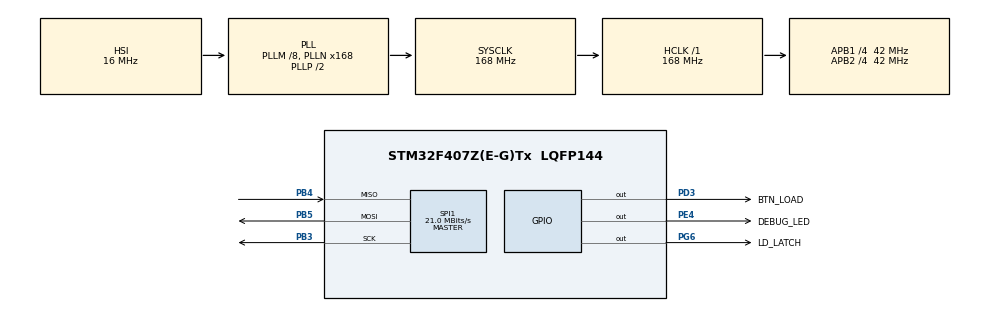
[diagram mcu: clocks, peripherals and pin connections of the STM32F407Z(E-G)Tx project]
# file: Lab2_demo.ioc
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Mcu.Family=STM32F4
Mcu.Name=STM32F407Z(E-G)Tx
Mcu.Package=LQFP144
NVIC.PriorityGroup=NVIC_PRIORITYGROUP_4
NVIC.TIM2_IRQn=true\:0\:0\:false\:false\:true\:true\:true
PA13.Mode=Serial_Wire
PA13.Signal=SYS_JTMS-SWDIO
PA14.Mode=Serial_Wire
PA14.Signal=SYS_JTCK-SWCLK
PB3.Mode=Full_Duplex_Master
PB3.Signal=SPI1_SCK
PB4.Mode=Full_Duplex_Master
PB4.Signal=SPI1_MISO
PB5.Mode=Full_Duplex_Master
PB5.Signal=SPI1_MOSI
PD3.GPIO_Label=BTN_LOAD
PD3.Signal=GPIO_Output
PE4.GPIO_Label=DEBUG_LED
PE4.Signal=GPIO_Output
PG6.GPIO_Label=LD_LATCH
PG6.Signal=GPIO_Output
PH0-OSC_IN.Mode=HSE-External-Oscillator
PH0-OSC_IN.Signal=RCC_OSC_IN
PH1-OSC_OUT.Mode=HSE-External-Oscillator
PH1-OSC_OUT.Signal=RCC_OSC_OUT
ProjectManager.HeapSize=0x200
ProjectManager.StackSize=0x400
ProjectManager.TargetToolchain=STM32CubeIDE
RCC.48MHZClocksFreq_Value=84000000
RCC.AHBFreq_Value=168000000
RCC.APB1CLKDivider=RCC_HCLK_DIV4
RCC.APB1Freq_Value=42000000
RCC.APB1TimFreq_Value=84000000
RCC.APB2CLKDivider=RCC_HCLK_DIV4
RCC.APB2Freq_Value=42000000
RCC.APB2TimFreq_Value=84000000
RCC.CortexFreq_Value=168000000
RCC.HCLKFreq_Value=168000000
RCC.HSE_VALUE=8000000
RCC.HSI_VALUE=16000000
RCC.LSE_VALUE=32768
RCC.PLLM=8
RCC.PLLN=168
RCC.SYSCLKFreq_VALUE=168000000
RCC.SYSCLKSource=RCC_SYSCLKSOURCE_PLLCLK
RCC.VCOOutputFreq_Value=336000000
SPI1.CalculateBaudRate=21.0 MBits/s
SPI1.Direction=SPI_DIRECTION_2LINES
SPI1.Mode=SPI_MODE_MASTER
SPI1.VirtualType=VM_MASTER
TIM2.Period=100-1
TIM2.Prescaler=840-1
VP_TIM2_VS_ClockSourceINT.Mode=Internal
board=custom

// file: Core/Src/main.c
/* USER CODE BEGIN Header */
/**
  ******************************************************************************
  * @file           : main.c
  * @brief          : Main program body
  ******************************************************************************
  * @attention
  *
  * <h2><center>&copy; Copyright (c) 2024 STMicroelectronics.
  * All rights reserved.</center></h2>
  *
  * This software component is licensed by ST under BSD 3-Clause license,
  * the "License"; You may not use this file except in compliance with the
  * License. You may obtain a copy of the License at:
  *                        opensource.org/licenses/BSD-3-Clause
  *
  ******************************************************************************
  */
/* USER CODE END Header */
#include "main.h"

/* USER CODE BEGIN Includes */
#include "software_timer.h"
/* USER CODE END Includes */

/* USER CODE BEGIN PD */
#define MINUTE_SECOND_MODE 10
#define HOUR_MINUTE_MODE 11
#define COLON_MODE_ON 1
#define COLON_MODE_OFF 0
#define _1_HZ 1
#define _25_HZ 11
#define _100_HZ 111
/* USER CODE END PD */

SPI_HandleTypeDef hspi1;

TIM_HandleTypeDef htim2;

void SystemClock_Config(void);
static void MX_GPIO_Init(void);
static void MX_SPI1_Init(void);
static void MX_TIM2_Init(void);
/* USER CODE BEGIN PFP */
void led7_init();
void led7_Scan();
void led7_SetDigit(int num, int position, uint8_t show_dot);
void led7_SetColon(uint8_t status);
/* USER CODE END PFP */

int main(void)
{

  /* MCU Configuration--------------------------------------------------------*/

  /* Reset of all peripherals, Initializes the Flash interface and the Systick. */
  HAL_Init();

  /* Configure the system clock */
  SystemClock_Config();

  /* Initialize all configured peripherals */
  MX_GPIO_Init();
  MX_SPI1_Init();
  MX_TIM2_Init();
  /* USER CODE BEGIN 2 */
  HAL_TIM_Base_Start_IT(&htim2);
  /* USER CODE END 2 */

  /* Infinite loop */
  /* USER CODE BEGIN WHILE */
  led7_init();
  setTimer1(50);
  setTimer2(50);
  int exercise = 3;
  int mode = HOUR_MINUTE_MODE;
  int hour = 22, minute = 50, second = 30;
  int colonMode = COLON_MODE_OFF;
  int randomArr[4] = {9, 0, 1, 3};

  int modeHz = _1_HZ;
  for (int i = 0; i < 4; i++) {
  	 led7_SetDigit(randomArr[i], i, 0);
  }
  while (1)
  {
    /* USER CODE END WHILE */
	  if(exercise == 1){
		  if (timer1_flag == 1){
			  second++;
			  if(second >= 60){
				  second = 0;
				  minute++;
			  }
			  if(minute >= 60){
				  minute = 0;
				  hour++;
			  }
			  if(hour >= 24){
				  hour = 0;
			  }
			  led7_SetDigit(mode == MINUTE_SECOND_MODE? minute/10 : hour/10, 0, 0);
			  led7_SetDigit(mode == MINUTE_SECOND_MODE? minute%10 : hour%10, 1, 0);
			  led7_SetDigit(mode == MINUTE_SECOND_MODE? second/10 : minute/10, 2, 0);
			  led7_SetDigit(mode == MINUTE_SECOND_MODE? second%10 : minute%10, 3, 0);
			  setTimer1(10);
		  }
		  if (timer2_flag == 1){
			  colonMode = COLON_MODE_ON + COLON_MODE_OFF - colonMode;
			  led7_SetColon(colonMode);
			  setTimer2(250);
		  }
	  } else if (exercise == 2){
		  if (timer1_flag == 1){
			  int temp = randomArr[3];
			 for (int i = 3; i > 0; i--) {
				 randomArr[i] = randomArr[i - 1];
			 }
			 randomArr[0] = temp;

			 for (int i = 0; i < 4; i++) {
				 led7_SetDigit(randomArr[i], i, 0);
			 }
			 setTimer1(1000);
		  }
	  } else if (exercise == 3){
		  if(timer1_flag == 1){
			  led7_Scan();
			  if(modeHz == _1_HZ){
				  setTimer1(1000);
			  } else if (modeHz == _25_HZ){
				  setTimer1(40);
			  } else if (modeHz == _100_HZ){
				  setTimer1(10);
			  }
		  }
	  }

  }
}

void SystemClock_Config(void)
{
  RCC_OscInitTypeDef RCC_OscInitStruct = {0};
  RCC_ClkInitTypeDef RCC_ClkInitStruct = {0};

  /** Configure the main internal regulator output voltage
  */
  __HAL_RCC_PWR_CLK_ENABLE();
  __HAL_PWR_VOLTAGESCALING_CONFIG(PWR_REGULATOR_VOLTAGE_SCALE1);
  /** Initializes the RCC Oscillators according to the specified parameters
  * in the RCC_OscInitTypeDef structure.
  */
  RCC_OscInitStruct.OscillatorType = RCC_OSCILLATORTYPE_HSI;
  RCC_OscInitStruct.HSIState = RCC_HSI_ON;
  RCC_OscInitStruct.HSICalibrationValue = RCC_HSICALIBRATION_DEFAULT;
  RCC_OscInitStruct.PLL.PLLState = RCC_PLL_ON;
  RCC_OscInitStruct.PLL.PLLSource = RCC_PLLSOURCE_HSI;
  RCC_OscInitStruct.PLL.PLLM = 8;
  RCC_OscInitStruct.PLL.PLLN = 168;
  RCC_OscInitStruct.PLL.PLLP = RCC_PLLP_DIV2;
  RCC_OscInitStruct.PLL.PLLQ = 4;
  if (HAL_RCC_OscConfig(&RCC_OscInitStruct) != HAL_OK)
  {
    Error_Handler();
  }
  /** Initializes the CPU, AHB and APB buses clocks
  */
  RCC_ClkInitStruct.ClockType = RCC_CLOCKTYPE_HCLK|RCC_CLOCKTYPE_SYSCLK
                              |RCC_CLOCKTYPE_PCLK1|RCC_CLOCKTYPE_PCLK2;
  RCC_ClkInitStruct.SYSCLKSource = RCC_SYSCLKSOURCE_PLLCLK;
  RCC_ClkInitStruct.AHBCLKDivider = RCC_SYSCLK_DIV1;
  RCC_ClkInitStruct.APB1CLKDivider = RCC_HCLK_DIV4;
  RCC_ClkInitStruct.APB2CLKDivider = RCC_HCLK_DIV4;

  if (HAL_RCC_ClockConfig(&RCC_ClkInitStruct, FLASH_LATENCY_5) != HAL_OK)
  {
    Error_Handler();
  }
}

static void MX_SPI1_Init(void)
{

  /* SPI1 parameter configuration*/
  hspi1.Instance = SPI1;
  hspi1.Init.Mode = SPI_MODE_MASTER;
  hspi1.Init.Direction = SPI_DIRECTION_2LINES;
  hspi1.Init.DataSize = SPI_DATASIZE_8BIT;
  hspi1.Init.CLKPolarity = SPI_POLARITY_LOW;
  hspi1.Init.CLKPhase = SPI_PHASE_1EDGE;
  hspi1.Init.NSS = SPI_NSS_SOFT;
  hspi1.Init.BaudRatePrescaler = SPI_BAUDRATEPRESCALER_2;
  hspi1.Init.FirstBit = SPI_FIRSTBIT_MSB;
  hspi1.Init.TIMode = SPI_TIMODE_DISABLE;
  hspi1.Init.CRCCalculation = SPI_CRCCALCULATION_DISABLE;
  hspi1.Init.CRCPolynomial = 10;
  if (HAL_SPI_Init(&hspi1) != HAL_OK)
  {
    Error_Handler();
  }

}

static void MX_TIM2_Init(void)
{

  TIM_ClockConfigTypeDef sClockSourceConfig = {0};
  TIM_MasterConfigTypeDef sMasterConfig = {0};

  htim2.Instance = TIM2;
  htim2.Init.Prescaler = 840-1;
  htim2.Init.CounterMode = TIM_COUNTERMODE_UP;
  htim2.Init.Period = 100-1;
  htim2.Init.ClockDivision = TIM_CLOCKDIVISION_DIV1;
  htim2.Init.AutoReloadPreload = TIM_AUTORELOAD_PRELOAD_DISABLE;
  if (HAL_TIM_Base_Init(&htim2) != HAL_OK)
  {
    Error_Handler();
  }
  sClockSourceConfig.ClockSource = TIM_CLOCKSOURCE_INTERNAL;
  if (HAL_TIM_ConfigClockSource(&htim2, &sClockSourceConfig) != HAL_OK)
  {
    Error_Handler();
  }
  sMasterConfig.MasterOutputTrigger = TIM_TRGO_RESET;
  sMasterConfig.MasterSlaveMode = TIM_MASTERSLAVEMODE_DISABLE;
  if (HAL_TIMEx_MasterConfigSynchronization(&htim2, &sMasterConfig) != HAL_OK)
  {
    Error_Handler();
  }

}

static void MX_GPIO_Init(void)
{
  GPIO_InitTypeDef GPIO_InitStruct = {0};

  /* GPIO Ports Clock Enable */
  __HAL_RCC_GPIOH_CLK_ENABLE();
  __HAL_RCC_GPIOG_CLK_ENABLE();
  __HAL_RCC_GPIOA_CLK_ENABLE();
  __HAL_RCC_GPIOD_CLK_ENABLE();
  __HAL_RCC_GPIOB_CLK_ENABLE();

  /*Configure GPIO pin Output Level */
  HAL_GPIO_WritePin(LD_LATCH_GPIO_Port, LD_LATCH_Pin, GPIO_PIN_RESET);

  /*Configure GPIO pin Output Level */
  HAL_GPIO_WritePin(BTN_LOAD_GPIO_Port, BTN_LOAD_Pin, GPIO_PIN_RESET);

  /*Configure GPIO pin : LD_LATCH_Pin */
  GPIO_InitStruct.Pin = LD_LATCH_Pin;
  GPIO_InitStruct.Mode = GPIO_MODE_OUTPUT_PP;
  GPIO_InitStruct.Pull = GPIO_NOPULL;
  GPIO_InitStruct.Speed = GPIO_SPEED_FREQ_LOW;
  HAL_GPIO_Init(LD_LATCH_GPIO_Port, &GPIO_InitStruct);

  /*Configure GPIO pin : BTN_LOAD_Pin */
  GPIO_InitStruct.Pin = BTN_LOAD_Pin;
  GPIO_InitStruct.Mode = GPIO_MODE_OUTPUT_PP;
  GPIO_InitStruct.Pull = GPIO_NOPULL;
  GPIO_InitStruct.Speed = GPIO_SPEED_FREQ_LOW;
  HAL_GPIO_Init(BTN_LOAD_GPIO_Port, &GPIO_InitStruct);

}

/* USER CODE BEGIN 4 */
void HAL_TIM_PeriodElapsedCallback(TIM_HandleTypeDef *htim){
	timerRun();
//	led7_Scan();
}
uint8_t led7seg[4] = {0, 1, 2, 3}; //4 index
uint8_t arrayOfNum[10] = {0x03, 0x9f, 0x25, 0x0d, 0x99, 0x49, 0x41, 0x1f, 0x01, 0x09};// 9 numbers
uint16_t spi_buffer = 0xffff;
uint16_t led7_index = 0;

/**
  * @brief  Init led 7 segment
  * @param  None
  * @retval None
  */
void led7_init(){
	  HAL_GPIO_WritePin(LD_LATCH_GPIO_Port, LD_LATCH_Pin, 1);
}

/**
  * @brief  Scan led 7 segment
  * @param  None
  * @note  	Call in 1ms interrupt
  * @retval None
  */
void led7_Scan(){
	spi_buffer &= 0x00ff;
	spi_buffer |= led7seg[led7_index] << 8;
	switch(led7_index){
	case 0:
		spi_buffer |= 0x00b0;
		spi_buffer &= 0xffbf;
		break;
	case 1:
		spi_buffer |= 0x00d0;
		spi_buffer &= 0xffdf;
		break;
	case 2:
		spi_buffer |= 0x00e0;
		spi_buffer &= 0xffef;
		break;
	case 3:
		spi_buffer |= 0x0070;
		spi_buffer &= 0xff7f;
		break;
	default:
		break;
	}
	led7_index = (led7_index + 1)%4;
	HAL_GPIO_WritePin(LD_LATCH_GPIO_Port, LD_LATCH_Pin, 0);
	HAL_SPI_Transmit(&hspi1, (void*)&spi_buffer, 2, 1);
	HAL_GPIO_WritePin(LD_LATCH_GPIO_Port, LD_LATCH_Pin, 1);
}

/**
  * @brief  Display a digit at a position of led 7-segment
  * @param  num	Number displayed
  * @param  pos	The position displayed (index from 0)
  * @param  show_dot Show dot in the led or not
  * @retval None
  */
void led7_SetDigit(int num, int position, uint8_t show_dot){
	if(num >= 0 && num <= 9){
		led7seg[position] = arrayOfNum[num] - show_dot;
	}
}

/**
  * @brief  Control the colon led
  * @param  status Status applied to the colon (1: turn on, 0: turn off)
  *          This parameter can be one of the following values:
  *            @arg 0: Turn off
  *            @arg 1: Turn on
  * @retval None
  */
void led7_SetColon(uint8_t status){
	if(status == 1) spi_buffer &= ~(1 << 3);
	else spi_buffer |= (1 << 3);
}
/* USER CODE END 4 */

void Error_Handler(void)
{
  __disable_irq();
  while (1)
  {
  }
}

/************************ (C) COPYRIGHT STMicroelectronics *****END OF FILE****/
